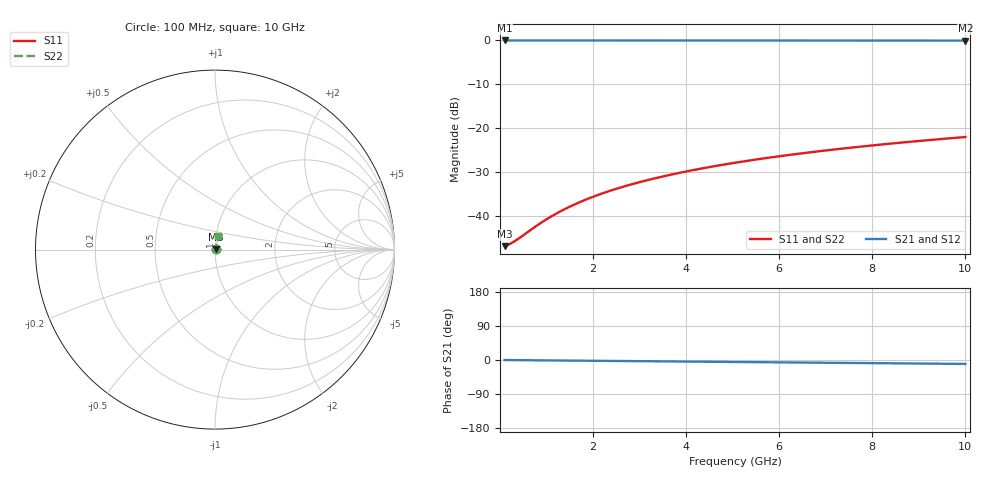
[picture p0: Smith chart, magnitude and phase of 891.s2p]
# Hz S RI R 50.00
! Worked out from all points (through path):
!   100 points, 100 MHz to 10 GHz, reference 50 ohm
!   highest |S21| = -0.04 dB at 100 MHz (marker M1); lowest = -0.1 dB at 10 GHz (marker M2)
!   group delay of S21, straight-line fit = 2.87 ps
!   lowest |S11| = -46.8 dB at 100 MHz (marker M3), VSWR 1.01, Z = 50.5 + j0.08 ohm
!   |S11| at or under -10 dB: start of sweep to end of sweep
!   |S22| runs from -46.8 to -22.0 dB; largest |S21 - S12| = 0
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1e8  0.00452 0.000793  0.9955 -0.0018  0.9955 -0.0018  0.00452 0.000793
2e8  0.00455 0.00159  0.9954 -0.0036  0.9954 -0.0036  0.00455 0.00159
3e8  0.00458 0.00238  0.9954 -0.00539  0.9954 -0.00539  0.00458 0.00238
4e8  0.00461 0.00317  0.9954 -0.00719  0.9954 -0.00719  0.00461 0.00317
8e8  0.00473 0.00634  0.9952 -0.0144  0.9952 -0.0144  0.00473 0.00634
1.1e9  0.00484 0.00871  0.9951 -0.0198  0.9951 -0.0198  0.00484 0.00871
1.4e9  0.00497 0.0111  0.9949 -0.0252  0.9949 -0.0252  0.00497 0.0111
1.6e9  0.00507 0.0127  0.9948 -0.0288  0.9948 -0.0288  0.00507 0.0127
1.8e9  0.00518 0.0142  0.9946 -0.0323  0.9946 -0.0323  0.00518 0.0142
2.1e9  0.00536 0.0166  0.9944 -0.0377  0.9944 -0.0377  0.00536 0.0166
2.5e9  0.00565 0.0198  0.994 -0.0449  0.994 -0.0449  0.00565 0.0198
2.9e9  0.00598 0.0229  0.9936 -0.0521  0.9936 -0.0521  0.00598 0.0229
3.4e9  0.00645 0.0269  0.9929 -0.061  0.9929 -0.061  0.00645 0.0269
3.8e9  0.00688 0.03  0.9924 -0.0682  0.9924 -0.0682  0.00688 0.03
4.2e9  0.00735 0.0331  0.9917 -0.0754  0.9917 -0.0754  0.00735 0.0331
4.6e9  0.00787 0.0362  0.991 -0.0825  0.991 -0.0825  0.00787 0.0362
5.1e9  0.00858 0.0401  0.9901 -0.0914  0.9901 -0.0914  0.00858 0.0401
5.9e9  0.00986 0.0463  0.9883 -0.1057  0.9883 -0.1057  0.00986 0.0463
6.7e9  0.0113 0.0525  0.9863 -0.1199  0.9863 -0.1199  0.0113 0.0525
7.5e9  0.0129 0.0586  0.9841 -0.1341  0.9841 -0.1341  0.0129 0.0586
8.4e9  0.015 0.0654  0.9813 -0.15  0.9813 -0.15  0.015 0.0654
1e10  0.0192 0.0773  0.9756 -0.178  0.9756 -0.178  0.0192 0.0773
